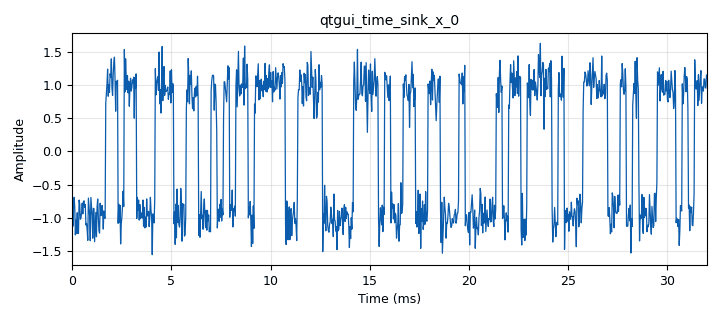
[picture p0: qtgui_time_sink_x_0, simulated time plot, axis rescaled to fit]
<?xml version='1.0' encoding='utf-8'?>
<?grc format='1' created='3.7.13'?>
<flow_graph>
<block>
<key>options</key>
<param><key>id</key><value>top_block</value></param>
<param><key>generate_options</key><value>qt_gui</value></param>
</block>
<block>
<key>variable</key>
<param><key>id</key><value>h</value></param>
<param><key>value</key><value>wform.rect(Sps)</value></param>
</block>
<block>
<key>variable</key>
<param><key>id</key><value>samp_rate</value></param>
<param><key>value</key><value>32000</value></param>
</block>
<block>
<key>parameter</key>
<param><key>id</key><value>Sps</value></param>
<param><key>label</key><value>Sps</value></param>
<param><key>value</key><value>10</value></param>
</block>
<block>
<key>analog_noise_source_x</key>
<param><key>id</key><value>analog_noise_source_x_0</value></param>
<param><key>amp</key><value>0.2</value></param>
<param><key>noise_type</key><value>analog.GR_GAUSSIAN</value></param>
<param><key>type</key><value>float</value></param>
<param><key>seed</key><value>0</value></param>
</block>
<block>
<key>analog_random_source_x</key>
<param><key>id</key><value>analog_random_source_x_0</value></param>
<param><key>max</key><value>2</value></param>
<param><key>min</key><value>0</value></param>
<param><key>num_samps</key><value>1000000</value></param>
<param><key>type</key><value>int</value></param>
<param><key>repeat</key><value>True</value></param>
</block>
<block>
<key>b_eye_diagram2_f</key>
<param><key>id</key><value>b_eye_diagram2_f_0</value></param>
<param><key>Delay</key><value>0</value></param>
<param><key>_enabled</key><value>0</value></param>
<param><key>Sps</key><value>8</value></param>
<param><key>samp_rate</key><value>32000</value></param>
</block>
<block>
<key>b_eye_diagram2_f</key>
<param><key>id</key><value>b_eye_diagram2_f_1</value></param>
<param><key>Delay</key><value>int(Sps/2)</value></param>
<param><key>_enabled</key><value>0</value></param>
<param><key>Sps</key><value>Sps</value></param>
<param><key>samp_rate</key><value>samp_rate</value></param>
</block>
<block>
<key>b_eye_diagram_f</key>
<param><key>id</key><value>b_eye_diagram_f_0</value></param>
<param><key>Sps</key><value>Sps</value></param>
<param><key>samp_rate</key><value>samp_rate</value></param>
</block>
<block>
<key>blocks_add_const_vxx</key>
<param><key>id</key><value>blocks_add_const_vxx_0</value></param>
<param><key>const</key><value>-0.5</value></param>
<param><key>type</key><value>float</value></param>
</block>
<block>
<key>blocks_add_xx</key>
<param><key>id</key><value>blocks_add_xx_0</value></param>
<param><key>type</key><value>float</value></param>
</block>
<block>
<key>blocks_int_to_float</key>
<param><key>id</key><value>blocks_int_to_float_0</value></param>
<param><key>scale</key><value>1</value></param>
</block>
<block>
<key>blocks_multiply_const_vxx</key>
<param><key>id</key><value>blocks_multiply_const_vxx_0</value></param>
<param><key>const</key><value>2.</value></param>
<param><key>type</key><value>float</value></param>
</block>
<block>
<key>epy_block</key>
<param><key>id</key><value>epy_block_0_1</value></param>
<param><key>_source_code</key><value>"""
Embedded Python Blocks:

Each time this file is saved, GRC will instantiate the first class it finds
to get ports and parameters of your block. The arguments to __init__  will
be the parameters. All of them are required to have default values!
"""

import numpy as np
from gnuradio import gr
from eyediagram.demo_data import demo_data
from eyediagram.mpl import eyediagram
import matplotlib.pyplot as plt


class diagrama_ojo2_e_f(gr.sync_block):  
    """hecho por: Homero Ortega Boada. Permite obtener el diagrama de ojo"""

    def __init__(self, Sps=8, Delay=0, samp_rate=32000):
        gr.sync_block.__init__(self, name='diagrama_ojo2_e_f', in_sig=[np.float32], out_sig=None)
        self.Sps = Sps
        self.Delay=Delay
        self.Tsamp=1./samp_rate
	Tb=self.Sps*self.Tsamp
        self.t = np.linspace(-Tb,Tb-self.Tsamp, Sps)

    def work(self, input_items, output_items):
        in0 = input_items[0] # in0 es un 1D array
        s=in0[self.Delay:self.Delay+self.Sps] # es la pequna porcion a graficar
        plt.plot(self.t,s)             
        plt.pause(self.Tsamp)
        return len(input_items[0])
</value></param>
<param><key>Delay</key><value>0</value></param>
<param><key>_enabled</key><value>0</value></param>
<param><key>samp_rate</key><value>samp_rate</value></param>
<param><key>Sps</key><value>Sps</value></param>
</block>
<block>
<key>import</key>
<param><key>id</key><value>import_0</value></param>
<param><key>import</key><value>import math</value></param>
</block>
<block>
<key>interp_fir_filter_xxx</key>
<param><key>id</key><value>interp_fir_filter_xxx_0</value></param>
<param><key>interp</key><value>Sps</value></param>
<param><key>taps</key><value>h</value></param>
<param><key>type</key><value>fff</value></param>
</block>
<block>
<key>qtgui_time_sink_x</key>
<param><key>id</key><value>qtgui_time_sink_x_0</value></param>
<param><key>color1</key><value>"blue"</value></param>
<param><key>label1</key><value></value></param>
<param><key>size</key><value>1024</value></param>
<param><key>srate</key><value>samp_rate</value></param>
<param><key>type</key><value>float</value></param>
</block>
<block>
<key>epy_module</key>
<param><key>id</key><value>wform</value></param>
<param><key>source_code</key><value>import math
import numpy
#######################################################
##        Hecho por Homero Ortega Boada              ##
##        comdiguis@saber.uis.edu.co                 ##
##     Universidad Industrial de Santander           ##
#######################################################

#######################################################
##               Forma rectangular                   ##
#######################################################                       
def rect(Sps):
    return Sps*[1.,]

#######################################################
##               Forma de Nyquist                    ##
#######################################################                       
def nyq(Sps,ntaps):
    n=numpy.linspace(-int(ntaps/2), int(ntaps/2-1),ntaps)
    h=numpy.sinc(n/Sps)
#    return h/numpy.amax(h)
    return h
#######################################################
##               Forma Coseno Alzado                 ##
#######################################################                       
def rcos(Sps,ntaps,beta):
    if beta==0:
        h=nyq(Sps,ntaps)
    else:
        h=ntaps*[0,]
        for n in range(ntaps):
            k=n-ntaps/2. # esto es para que h[n] quede centrada en la mitad del vector
            if abs(k)==Sps/(2.*beta):
                h[n]=numpy.sinc(1./(2.*beta))*math.pi/4.
            else:
                h[n]=numpy.sinc(k/Sps)*math.cos(beta*k*math.pi/Sps)/(1.-(2.*beta*k/Sps)**2)                
    Amp=numpy.amax(h)
    return h/Amp
#######################################################
##            Forma Raiz de Coseno Alzado            ##
#######################################################                       

def rrcos(Sps,ntaps,beta):
    if beta==0:
        h=nyq(Sps,ntaps)
    else:
        h=ntaps*[0,]
        beta4=4.*beta
        for n in range(ntaps):
            k=n-ntaps/2. # esto es para que h[n] quede centrada en la mitad del vector
            if k==0:
                h[n]=1+beta*(4./math.pi-1.)
            elif abs(k)==Sps/beta4:
                ha=(1.+2./math.pi)*math.sin(math.pi/beta4)
                hb=(1.-2./math.pi)*math.cos(math.pi/beta4)
                h[n]=(ha+hb)*beta/math.sqrt(2.)
            else:
                ks=k/Sps
                kspi=math.pi*ks
                Num=math.sin(kspi*(1-beta))+beta4*ks*math.cos(kspi*(1+beta))
                Den=kspi*(1.-(beta4*ks)**2)
                h[n]=Num/Den                
    Amp=numpy.amax(h)
    return h/Amp
########################################################
##     Bipolar non return to zero level signal        ##
########################################################
def B_NRZ_L(Sps):
    return Sps*[1.,]

########################################################
##  Forma sinc . Es la misma nyq() que aparece arriba ##
########################################################
def sinc(Sps,ntaps):
    n=np.linspace(-int(ntaps/2), int(ntaps/2-1),ntaps)
    h=np.sinc(n/Sps)
    return h
########################################################
##              forma diente se sierra                ##
########################################################
def saw(Sps):
    return np.linspace(0,Sps-1,Sps)	
########################################################
#         Bipolar non return to zero signal           ##
########################################################
def RZ(Sps):
    h=Sps*[1.,]
    Sps_m=int(Sps/2)
    h[Sps_m+1:Sps:1]=np.zeros(Sps-Sps_m)
    return h
</value></param>
</block>
<connection><source_block_id>analog_noise_source_x_0</source_block_id><sink_block_id>blocks_add_xx_0</sink_block_id><source_key>0</source_key><sink_key>1</sink_key></connection>
<connection><source_block_id>analog_random_source_x_0</source_block_id><sink_block_id>blocks_int_to_float_0</sink_block_id><source_key>0</source_key><sink_key>0</sink_key></connection>
<connection><source_block_id>blocks_add_const_vxx_0</source_block_id><sink_block_id>blocks_multiply_const_vxx_0</sink_block_id><source_key>0</source_key><sink_key>0</sink_key></connection>
<connection><source_block_id>blocks_add_xx_0</source_block_id><sink_block_id>b_eye_diagram2_f_0</sink_block_id><source_key>0</source_key><sink_key>0</sink_key></connection>
<connection><source_block_id>blocks_add_xx_0</source_block_id><sink_block_id>b_eye_diagram2_f_1</sink_block_id><source_key>0</source_key><sink_key>0</sink_key></connection>
<connection><source_block_id>blocks_add_xx_0</source_block_id><sink_block_id>b_eye_diagram_f_0</sink_block_id><source_key>0</source_key><sink_key>0</sink_key></connection>
<connection><source_block_id>blocks_add_xx_0</source_block_id><sink_block_id>epy_block_0_1</sink_block_id><source_key>0</source_key><sink_key>0</sink_key></connection>
<connection><source_block_id>blocks_add_xx_0</source_block_id><sink_block_id>qtgui_time_sink_x_0</sink_block_id><source_key>0</source_key><sink_key>0</sink_key></connection>
<connection><source_block_id>blocks_int_to_float_0</source_block_id><sink_block_id>blocks_add_const_vxx_0</sink_block_id><source_key>0</source_key><sink_key>0</sink_key></connection>
<connection><source_block_id>blocks_multiply_const_vxx_0</source_block_id><sink_block_id>interp_fir_filter_xxx_0</sink_block_id><source_key>0</source_key><sink_key>0</sink_key></connection>
<connection><source_block_id>interp_fir_filter_xxx_0</source_block_id><sink_block_id>blocks_add_xx_0</sink_block_id><source_key>0</source_key><sink_key>0</sink_key></connection>
</flow_graph>
